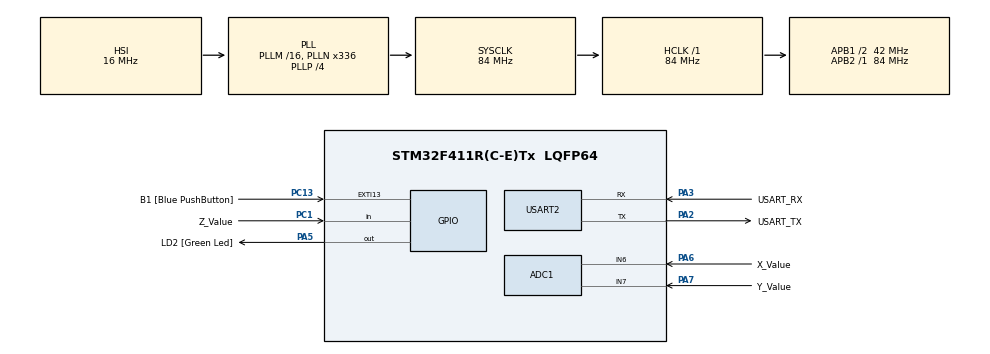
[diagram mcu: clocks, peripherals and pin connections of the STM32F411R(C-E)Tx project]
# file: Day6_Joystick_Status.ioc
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ADC1.Channel-0\#ChannelRegularConversion=ADC_CHANNEL_6
ADC1.Channel-1\#ChannelRegularConversion=ADC_CHANNEL_7
ADC1.NbrOfConversion=2
ADC1.NbrOfConversionFlag=1
ADC1.Rank-0\#ChannelRegularConversion=1
ADC1.Rank-1\#ChannelRegularConversion=2
ADC1.SamplingTime-0\#ChannelRegularConversion=ADC_SAMPLETIME_480CYCLES
ADC1.SamplingTime-1\#ChannelRegularConversion=ADC_SAMPLETIME_480CYCLES
ADC1.ScanConvMode=ENABLE
ADC1.master=1
Mcu.Family=STM32F4
Mcu.Name=STM32F411R(C-E)Tx
Mcu.Package=LQFP64
NVIC.ADC_IRQn=true\:0\:0\:false\:false\:true\:true\:true\:true
NVIC.PriorityGroup=NVIC_PRIORITYGROUP_0
PA13.GPIO_Label=TMS
PA13.Mode=Serial_Wire
PA13.Signal=SYS_JTMS-SWDIO
PA14.GPIO_Label=TCK
PA14.Mode=Serial_Wire
PA14.Signal=SYS_JTCK-SWCLK
PA2.GPIO_Label=USART_TX
PA2.Mode=Asynchronous
PA2.Signal=USART2_TX
PA3.GPIO_Label=USART_RX
PA3.Mode=Asynchronous
PA3.Signal=USART2_RX
PA5.GPIO_Label=LD2 [Green Led]
PA5.Signal=GPIO_Output
PA6.GPIO_Label=X_Value
PA6.Signal=ADCx_IN6
PA7.GPIO_Label=Y_Value
PA7.Signal=ADCx_IN7
PB3.GPIO_Label=SWO
PB3.Signal=SYS_JTDO-SWO
PC1.GPIO_Label=Z_Value
PC1.GPIO_PuPd=GPIO_PULLUP
PC1.Signal=GPIO_Input
PC13-ANTI_TAMP.GPIO_Label=B1 [Blue PushButton]
PC13-ANTI_TAMP.GPIO_ModeDefaultEXTI=GPIO_MODE_IT_FALLING
PC13-ANTI_TAMP.Signal=GPXTI13
PC14-OSC32_IN.Mode=LSE-External-Oscillator
PC14-OSC32_IN.Signal=RCC_OSC32_IN
PC15-OSC32_OUT.Mode=LSE-External-Oscillator
PC15-OSC32_OUT.Signal=RCC_OSC32_OUT
PH0\ -\ OSC_IN.Mode=HSE-External-Clock-Source
PH0\ -\ OSC_IN.Signal=RCC_OSC_IN
PH1\ -\ OSC_OUT.Mode=HSE-External-Clock-Source
PH1\ -\ OSC_OUT.Signal=RCC_OSC_OUT
ProjectManager.HeapSize=0x200
ProjectManager.StackSize=0x400
ProjectManager.TargetToolchain=STM32CubeIDE
RCC.48MHZClocksFreq_Value=84000000
RCC.AHBFreq_Value=84000000
RCC.APB1CLKDivider=RCC_HCLK_DIV2
RCC.APB1Freq_Value=42000000
RCC.APB1TimFreq_Value=84000000
RCC.APB2Freq_Value=84000000
RCC.APB2TimFreq_Value=84000000
RCC.CortexFreq_Value=84000000
RCC.FLatency-AdvancedSettings=FLASH_LATENCY_2
RCC.HCLKFreq_Value=84000000
RCC.HSE_VALUE=8000000
RCC.HSI_VALUE=16000000
RCC.PLLN=336
RCC.PLLP=RCC_PLLP_DIV4
RCC.SYSCLKFreq_VALUE=84000000
RCC.SYSCLKSource=RCC_SYSCLKSOURCE_PLLCLK
RCC.VCOOutputFreq_Value=336000000
SH.ADCx_IN6.0=ADC1_IN6,IN6
SH.ADCx_IN7.0=ADC1_IN7,IN7
USART2.VirtualMode=VM_ASYNC
board=NUCLEO-F411RE

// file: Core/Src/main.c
/* USER CODE BEGIN Header */
/**
  ******************************************************************************
  * @file           : main.c
  * @brief          : Main program body
  ******************************************************************************
  * @attention
  *
  * Copyright (c) 2023 STMicroelectronics.
  * All rights reserved.
  *
  * This software is licensed under terms that can be found in the LICENSE file
  * in the root directory of this software component.
  * If no LICENSE file comes with this software, it is provided AS-IS.
  *
  ******************************************************************************
  */
/* USER CODE END Header */
#include "main.h"

ADC_HandleTypeDef hadc1;

UART_HandleTypeDef huart2;

/* USER CODE BEGIN PV */
int xVal, yVal, zVal;
int cnt;
/* USER CODE END PV */

void SystemClock_Config(void);
static void MX_GPIO_Init(void);
static void MX_USART2_UART_Init(void);
static void MX_ADC1_Init(void);

/* USER CODE BEGIN 0 */

// UART Redirection
int __io_putchar(int ch)
{
	HAL_UART_Transmit(&huart2, &ch, 1, 100);
}

// ISR function
void HAL_ADC_ConvCpltCallback(ADC_HandleTypeDef* hadc)
{
	switch(cnt)
	{
		case 1 :
			HAL_ADC_PollForConversion(&hadc1, 100);
			xVal = HAL_ADC_GetValue(&hadc1)-2048; // Read x_Value
			break;

		case 2 :
			HAL_ADC_PollForConversion(&hadc1, 100);
			yVal = HAL_ADC_GetValue(&hadc1)-2048; // Read y_Value
			break;

		case 3 :
			zVal = HAL_GPIO_ReadPin(Z_Value_GPIO_Port, Z_Value_Pin); // Read z_Value
			break;

//		case 4 :
//			if(zVal)
//				printf("(x, y, z) = (%d, %d, %d)\r\n", xVal, yVal, ~zVal+2);
//			else
//				printf("(x, y, z) = (%d, %d, %d)\r\n", xVal, yVal, ~zVal+2);
//			break;

		default :
			cnt = 0;
			break;
	}
	cnt++;
	HAL_ADC_Start_IT(&hadc1); // Restart(1 time interrupt enable command)
}

/* USER CODE END 0 */

int main(void)
{

  /* MCU Configuration--------------------------------------------------------*/

  /* Reset of all peripherals, Initializes the Flash interface and the Systick. */
  HAL_Init();

  /* USER CODE BEGIN Init */
  int x = 0;
  int y = 0;
  /* USER CODE END Init */

  /* Configure the system clock */
  SystemClock_Config();

  /* Initialize all configured peripherals */
  MX_GPIO_Init();
  MX_USART2_UART_Init();
  MX_ADC1_Init();

  HAL_ADC_Start_IT(&hadc1); // ISR Start
  /* USER CODE BEGIN 2 */
	printf("Hello! STM32 Application Start.\r\n");
  /* USER CODE END 2 */

  /* Infinite loop */
  while (1)
  {

    /* USER CODE BEGIN 3 */
	  if(xVal > 30) x = 2;
	  else if((xVal > -70) && (xVal < 30))  x = 1;
	  else x = 0;

	  if(yVal > 30) y = 2;
	  else if((yVal > -70) && (yVal < 30))  y = 1;
	  else y = 0;

	  if ((~zVal+2) == 1)
	  {
		  switch(y)
		  {
		  	  case 0 :
		  		  if(x == 0) printf("Status : [Back, Left  ] <Push>\r\n");
				  else if (x == 1) printf("Status : [Back,       ] <Push>\r\n");
				  else printf("Status : [Back, Right ] <Push>\r\n");
				  break;
		  	  case 1 :
		  		  if(x == 0) printf("Status : [Left        ] <Push>\r\n");
				  else if (x == 1) printf("Status : [Middle      ] <Push>\r\n");
				  else printf("Status : [Right       ] <Push>\r\n");
				  break;
		  	  case 2 :
		  		  if(x == 0) printf("Status : [Front, Left ] <Push>\r\n");
				  else if (x == 1) printf("Status : [Front,      ] <Push>\r\n");
				  else printf("Status : [Front, Right] <Push>\r\n");
		  }
	  }
	  else
	  {
		  switch(y)
		  {
		  	  case 0 :
		  		  if(x == 0) printf("Status : [Back, Left  ]\r\n");
				  else if (x == 1) printf("Status : [Back        ]\r\n");
				  else printf("Status : [Back, Right ]\r\n");
				  break;
		  	  case 1 :
		  		  if(x == 0) printf("Status : [Left        ]\r\n");
				  else if (x == 1) printf("Status : [Middle      ]\r\n");
				  else printf("Status : [Right       ]\r\n");
				  break;
		  	  case 2 :
		  		  if(x == 0) printf("Status : [Front, Left ]\r\n");
				  else if (x == 1) printf("Status : [Front       ]\r\n");
				  else printf("Status : [Front, Right]\r\n");
		  }
	  }
	  HAL_Delay(100);
  }
  /* USER CODE END 3 */
}

void SystemClock_Config(void)
{
  RCC_OscInitTypeDef RCC_OscInitStruct = {0};
  RCC_ClkInitTypeDef RCC_ClkInitStruct = {0};

  /** Configure the main internal regulator output voltage
  */
  __HAL_RCC_PWR_CLK_ENABLE();
  __HAL_PWR_VOLTAGESCALING_CONFIG(PWR_REGULATOR_VOLTAGE_SCALE1);

  /** Initializes the RCC Oscillators according to the specified parameters
  * in the RCC_OscInitTypeDef structure.
  */
  RCC_OscInitStruct.OscillatorType = RCC_OSCILLATORTYPE_HSI;
  RCC_OscInitStruct.HSIState = RCC_HSI_ON;
  RCC_OscInitStruct.HSICalibrationValue = RCC_HSICALIBRATION_DEFAULT;
  RCC_OscInitStruct.PLL.PLLState = RCC_PLL_ON;
  RCC_OscInitStruct.PLL.PLLSource = RCC_PLLSOURCE_HSI;
  RCC_OscInitStruct.PLL.PLLM = 16;
  RCC_OscInitStruct.PLL.PLLN = 336;
  RCC_OscInitStruct.PLL.PLLP = RCC_PLLP_DIV4;
  RCC_OscInitStruct.PLL.PLLQ = 4;
  if (HAL_RCC_OscConfig(&RCC_OscInitStruct) != HAL_OK)
  {
    Error_Handler();
  }

  /** Initializes the CPU, AHB and APB buses clocks
  */
  RCC_ClkInitStruct.ClockType = RCC_CLOCKTYPE_HCLK|RCC_CLOCKTYPE_SYSCLK
                              |RCC_CLOCKTYPE_PCLK1|RCC_CLOCKTYPE_PCLK2;
  RCC_ClkInitStruct.SYSCLKSource = RCC_SYSCLKSOURCE_PLLCLK;
  RCC_ClkInitStruct.AHBCLKDivider = RCC_SYSCLK_DIV1;
  RCC_ClkInitStruct.APB1CLKDivider = RCC_HCLK_DIV2;
  RCC_ClkInitStruct.APB2CLKDivider = RCC_HCLK_DIV1;

  if (HAL_RCC_ClockConfig(&RCC_ClkInitStruct, FLASH_LATENCY_2) != HAL_OK)
  {
    Error_Handler();
  }
}

static void MX_ADC1_Init(void)
{

  ADC_ChannelConfTypeDef sConfig = {0};

  /** Configure the global features of the ADC (Clock, Resolution, Data Alignment and number of conversion)
  */
  hadc1.Instance = ADC1;
  hadc1.Init.ClockPrescaler = ADC_CLOCK_SYNC_PCLK_DIV4;
  hadc1.Init.Resolution = ADC_RESOLUTION_12B;
  hadc1.Init.ScanConvMode = ENABLE;
  hadc1.Init.ContinuousConvMode = DISABLE;
  hadc1.Init.DiscontinuousConvMode = DISABLE;
  hadc1.Init.ExternalTrigConvEdge = ADC_EXTERNALTRIGCONVEDGE_NONE;
  hadc1.Init.ExternalTrigConv = ADC_SOFTWARE_START;
  hadc1.Init.DataAlign = ADC_DATAALIGN_RIGHT;
  hadc1.Init.NbrOfConversion = 2;
  hadc1.Init.DMAContinuousRequests = DISABLE;
  hadc1.Init.EOCSelection = ADC_EOC_SINGLE_CONV;
  if (HAL_ADC_Init(&hadc1) != HAL_OK)
  {
    Error_Handler();
  }

  /** Configure for the selected ADC regular channel its corresponding rank in the sequencer and its sample time.
  */
  sConfig.Channel = ADC_CHANNEL_6;
  sConfig.Rank = 1;
  sConfig.SamplingTime = ADC_SAMPLETIME_480CYCLES;
  if (HAL_ADC_ConfigChannel(&hadc1, &sConfig) != HAL_OK)
  {
    Error_Handler();
  }

  /** Configure for the selected ADC regular channel its corresponding rank in the sequencer and its sample time.
  */
  sConfig.Channel = ADC_CHANNEL_7;
  sConfig.Rank = 2;
  if (HAL_ADC_ConfigChannel(&hadc1, &sConfig) != HAL_OK)
  {
    Error_Handler();
  }

}

static void MX_USART2_UART_Init(void)
{

  huart2.Instance = USART2;
  huart2.Init.BaudRate = 115200;
  huart2.Init.WordLength = UART_WORDLENGTH_8B;
  huart2.Init.StopBits = UART_STOPBITS_1;
  huart2.Init.Parity = UART_PARITY_NONE;
  huart2.Init.Mode = UART_MODE_TX_RX;
  huart2.Init.HwFlowCtl = UART_HWCONTROL_NONE;
  huart2.Init.OverSampling = UART_OVERSAMPLING_16;
  if (HAL_UART_Init(&huart2) != HAL_OK)
  {
    Error_Handler();
  }

}

static void MX_GPIO_Init(void)
{
  GPIO_InitTypeDef GPIO_InitStruct = {0};

  /* GPIO Ports Clock Enable */
  __HAL_RCC_GPIOC_CLK_ENABLE();
  __HAL_RCC_GPIOH_CLK_ENABLE();
  __HAL_RCC_GPIOA_CLK_ENABLE();
  __HAL_RCC_GPIOB_CLK_ENABLE();

  /*Configure GPIO pin Output Level */
  HAL_GPIO_WritePin(LD2_GPIO_Port, LD2_Pin, GPIO_PIN_RESET);

  /*Configure GPIO pin : B1_Pin */
  GPIO_InitStruct.Pin = B1_Pin;
  GPIO_InitStruct.Mode = GPIO_MODE_IT_FALLING;
  GPIO_InitStruct.Pull = GPIO_NOPULL;
  HAL_GPIO_Init(B1_GPIO_Port, &GPIO_InitStruct);

  /*Configure GPIO pin : Z_Value_Pin */
  GPIO_InitStruct.Pin = Z_Value_Pin;
  GPIO_InitStruct.Mode = GPIO_MODE_INPUT;
  GPIO_InitStruct.Pull = GPIO_PULLUP;
  HAL_GPIO_Init(Z_Value_GPIO_Port, &GPIO_InitStruct);

  /*Configure GPIO pin : LD2_Pin */
  GPIO_InitStruct.Pin = LD2_Pin;
  GPIO_InitStruct.Mode = GPIO_MODE_OUTPUT_PP;
  GPIO_InitStruct.Pull = GPIO_NOPULL;
  GPIO_InitStruct.Speed = GPIO_SPEED_FREQ_LOW;
  HAL_GPIO_Init(LD2_GPIO_Port, &GPIO_InitStruct);

}

void Error_Handler(void)
{
  __disable_irq();
  while (1)
  {
  }
}
